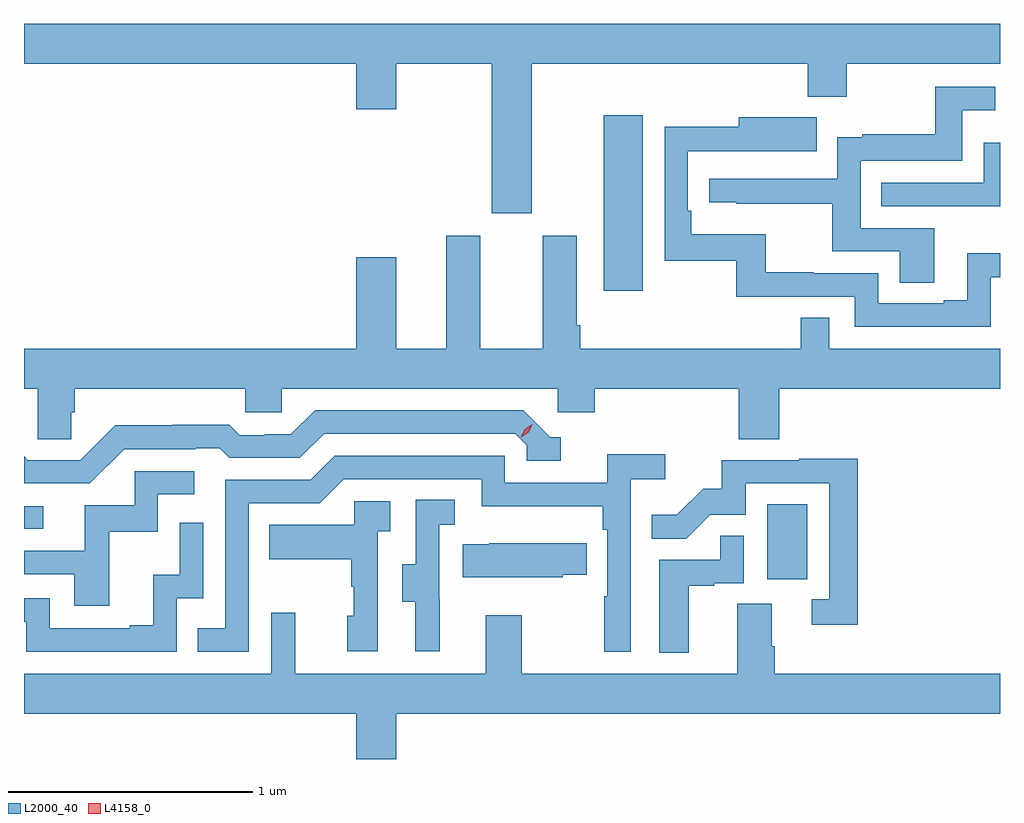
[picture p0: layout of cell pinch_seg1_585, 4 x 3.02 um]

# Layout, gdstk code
import gdstk
lib = gdstk.Library(unit=1e-6, precision=1e-09)
def R(c, l, rs):  # rectangles x0, y0, x1, y1
    for r in rs: c.add(gdstk.rectangle(r[:2], r[2:], *l))
def P(c, l, *ps):  # polygons
    for p in ps: c.add(gdstk.Polygon(p, *l))
L2000_40 = (2000, 40)
L4158_0 = (4158, 0)

pinch_seg1_585 = lib.new_cell('pinch_seg1_585')
R(pinch_seg1_585, L2000_40, [(1029.83,510.99,1029.994,511.297), (1026.783,511.197,1026.862,511.29), (1029.158,512.172,1029.319,512.893)])
P(pinch_seg1_585, L2000_40, [(1028.863,513.104),(1029.995,513.104),(1029.995,512.969),(1030.155,512.969),(1030.155,513.104),(1030.783,513.104),(1030.783,513.268),(1026.783,513.268),(1026.783,513.104),(1028.144,513.104),(1028.144,512.916),(1028.308,512.916),(1028.308,513.104),(1028.699,513.104),(1028.699,512.49),(1028.863,512.49)],
  [(1030.513,512.43),(1030.212,512.43),(1030.212,512.706),(1030.629,512.706),(1030.629,512.912),(1030.763,512.912),(1030.763,513.009),(1030.518,513.009),(1030.518,512.815),(1030.219,512.815),(1030.219,512.803),(1030.116,512.803),(1030.116,512.631),(1029.591,512.631),(1029.591,512.535),(1029.703,512.535),(1029.703,512.53),(1030.096,512.53),(1030.096,512.334),(1030.373,512.334),(1030.373,512.206),(1030.513,512.206)],
  [(1030.746,512.229),(1030.783,512.229),(1030.783,512.327),(1030.649,512.327),(1030.649,512.134),(1030.553,512.134),(1030.553,512.121),(1030.284,512.121),(1030.284,512.244),(1030.019,512.244),(1030.019,512.249),(1029.823,512.249),(1029.823,512.404),(1029.518,512.404),(1029.518,512.5),(1029.504,512.5),(1029.504,512.745),(1029.817,512.745),(1029.817,512.744),(1030.031,512.744),(1030.031,512.884),(1029.713,512.884),(1029.713,512.846),(1029.408,512.846),(1029.408,512.295),(1029.702,512.295),(1029.702,512.148),(1030.188,512.148),(1030.188,512.025),(1030.746,512.025)],
  [(1030.783,512.779),(1030.716,512.779),(1030.716,512.616),(1030.297,512.616),(1030.297,512.52),(1030.783,512.52)],
  [(1026.977,511.674),(1026.992,511.674),(1026.992,511.772),(1027.689,511.772),(1027.689,511.674),(1027.839,511.674),(1027.839,511.772),(1028.97,511.772),(1028.97,511.674),(1029.122,511.674),(1029.122,511.772),(1029.713,511.772),(1029.713,511.564),(1029.878,511.564),(1029.878,511.772),(1030.783,511.772),(1030.783,511.936),(1030.083,511.936),(1030.083,512.063),(1029.967,512.063),(1029.967,511.936),(1029.062,511.936),(1029.062,512.032),(1029.049,512.032),(1029.049,512.398),(1028.909,512.398),(1028.909,511.936),(1028.653,511.936),(1028.653,512.398),(1028.513,512.398),(1028.513,511.936),(1028.308,511.936),(1028.308,512.311),(1028.144,512.311),(1028.144,511.936),(1026.783,511.936),(1026.783,511.772),(1026.84,511.772),(1026.84,511.564),(1026.977,511.564)],
  [(1027.194,511.524),(1027.487,511.524),(1027.487,511.527),(1027.586,511.527),(1027.625,511.488),(1027.914,511.488),(1028.013,511.587),(1028.796,511.587),(1028.844,511.539),(1028.844,511.476),(1028.983,511.476),(1028.983,511.572),(1028.94,511.572),(1028.829,511.683),(1027.976,511.683),(1027.877,511.584),(1027.77,511.584),(1027.77,511.581),(1027.667,511.581),(1027.625,511.624),(1027.392,511.624),(1027.392,511.621),(1027.156,511.621),(1027.014,511.479),(1026.798,511.479),(1026.783,511.494),(1026.783,511.383),(1027.053,511.383)],
  [(1027.704,511.302),(1027.995,511.302),(1028.094,511.401),(1028.658,511.401),(1028.658,511.289),(1029.154,511.289),(1029.154,511.193),(1029.174,511.193),(1029.174,510.92),(1029.162,510.92),(1029.162,510.693),(1029.27,510.693),(1029.27,511.4),(1029.412,511.4),(1029.412,511.502),(1029.173,511.502),(1029.173,511.386),(1028.754,511.386),(1028.754,511.497),(1028.057,511.497),(1027.958,511.398),(1027.608,511.398),(1027.608,510.789),(1027.495,510.789),(1027.495,510.693),(1027.704,510.693)],
  [(1030.199,511.484),(1029.961,511.484),(1029.961,511.479),(1029.643,511.479),(1029.643,511.362),(1029.566,511.362),(1029.459,511.255),(1029.355,511.255),(1029.355,511.156),(1029.498,511.156),(1029.596,511.254),(1029.741,511.254),(1029.741,511.383),(1030.083,511.383),(1030.083,510.909),(1030.011,510.909),(1030.011,510.804),(1030.199,510.804)],
  [(1027.133,511.185),(1027.332,511.185),(1027.332,511.338),(1027.48,511.338),(1027.48,511.434),(1027.236,511.434),(1027.236,511.293),(1027.031,511.293),(1027.031,511.107),(1026.783,511.107),(1026.783,511.011),(1026.989,511.011),(1026.989,510.882),(1027.133,510.882)],
  [(1028.486,510.909),(1028.484,510.909),(1028.484,511.213),(1028.548,511.213),(1028.548,511.316),(1028.388,511.316),(1028.388,511.053),(1028.333,511.053),(1028.333,510.898),(1028.387,510.898),(1028.387,510.696),(1028.486,510.696)],
  [(1028.232,511.187),(1028.284,511.187),(1028.284,511.311),(1028.136,511.311),(1028.136,511.213),(1027.789,511.213),(1027.789,511.073),(1028.124,511.073),(1028.124,510.959),(1028.134,510.959),(1028.134,510.84),(1028.108,510.84),(1028.108,510.696),(1028.232,510.696)],
  [(1027.41,510.912),(1027.518,510.912),(1027.518,511.222),(1027.422,511.222),(1027.422,511.01),(1027.313,511.01),(1027.313,510.802),(1027.217,510.802),(1027.217,510.789),(1026.888,510.789),(1026.888,510.912),(1026.783,510.912),(1026.783,510.816),(1026.792,510.816),(1026.792,510.693),(1027.41,510.693)],
  [(1029.508,510.963),(1029.611,510.963),(1029.611,510.975),(1029.732,510.975),(1029.732,511.169),(1029.637,511.169),(1029.637,511.071),(1029.386,511.071),(1029.386,510.689),(1029.508,510.689)],
  [(1028.991,511.009),(1029.089,511.009),(1029.089,511.138),(1028.689,511.138),(1028.689,511.135),(1028.581,511.135),(1028.581,510.998),(1028.991,510.998)],
  [(1028.308,510.44),(1030.783,510.44),(1030.783,510.604),(1029.86,510.604),(1029.86,510.716),(1029.847,510.716),(1029.847,510.89),(1029.707,510.89),(1029.707,510.604),(1028.823,510.604),(1028.823,510.844),(1028.675,510.844),(1028.675,510.604),(1027.895,510.604),(1027.895,510.853),(1027.797,510.853),(1027.797,510.604),(1026.783,510.604),(1026.783,510.44),(1028.144,510.44),(1028.144,510.252),(1028.308,510.252)])
P(pinch_seg1_585, L4158_0, [(1028.82,511.573),(1028.82,511.574),(1028.836,511.606),(1028.866,511.625),(1028.867,511.625),(1028.867,511.625),(1028.851,511.593),(1028.82,511.573)])

lib.write_gds('pinch_seg1_585.gds')
